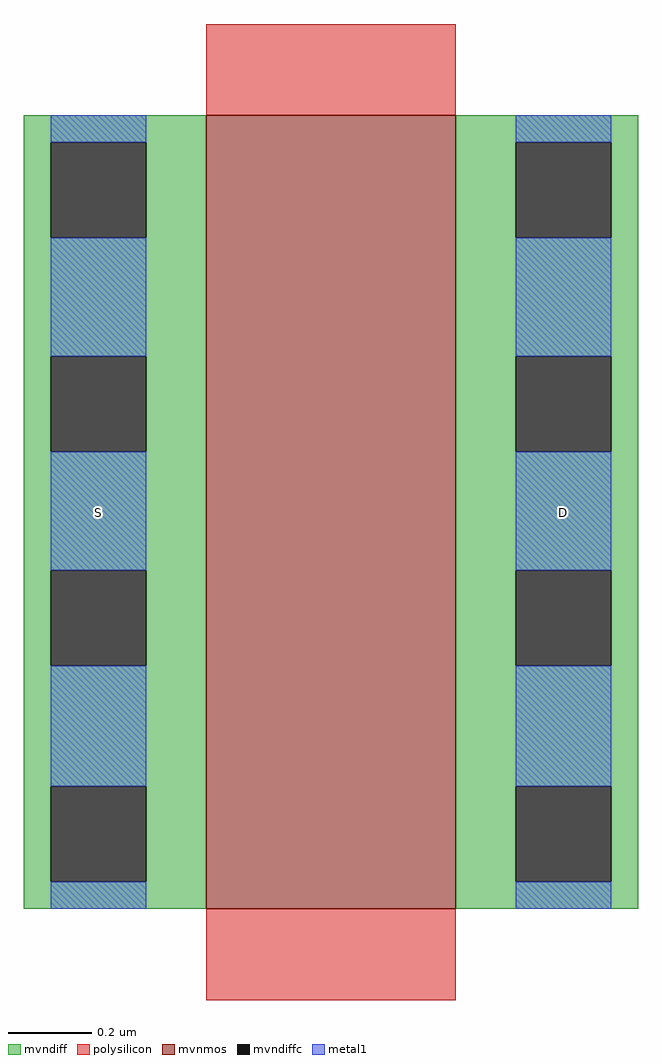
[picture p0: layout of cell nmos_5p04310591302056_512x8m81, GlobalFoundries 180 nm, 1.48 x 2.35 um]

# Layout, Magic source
magic
tech gf180mcuC
magscale 1 10
<< mvnmos >>
rect 0 0 120 382
<< mvndiff >>
rect -88 369 0 382
rect -88 323 -75 369
rect -29 323 0 369
rect -88 266 0 323
rect -88 220 -75 266
rect -29 220 0 266
rect -88 163 0 220
rect -88 117 -75 163
rect -29 117 0 163
rect -88 59 0 117
rect -88 13 -75 59
rect -29 13 0 59
rect -88 0 0 13
rect 120 369 208 382
rect 120 323 149 369
rect 195 323 208 369
rect 120 266 208 323
rect 120 220 149 266
rect 195 220 208 266
rect 120 163 208 220
rect 120 117 149 163
rect 195 117 208 163
rect 120 59 208 117
rect 120 13 149 59
rect 195 13 208 59
rect 120 0 208 13
<< mvndiffc >>
rect -75 323 -29 369
rect -75 220 -29 266
rect -75 117 -29 163
rect -75 13 -29 59
rect 149 323 195 369
rect 149 220 195 266
rect 149 117 195 163
rect 149 13 195 59
<< polysilicon >>
rect 0 382 120 426
rect 0 -44 120 0
<< metal1 >>
rect -75 369 -29 382
rect -75 266 -29 323
rect -75 163 -29 220
rect -75 59 -29 117
rect -75 0 -29 13
rect 149 369 195 382
rect 149 266 195 323
rect 149 163 195 220
rect 149 59 195 117
rect 149 0 195 13
<< labels >>
flabel metal1 s -52 191 -52 191 0 FreeSans 200 0 0 0 S
flabel metal1 s 172 191 172 191 0 FreeSans 200 0 0 0 D
<< properties >>
string GDS_END 390938
string GDS_FILE $PDKPATH/libs.ref/gf180mcu_fd_ip_sram/gds/gf180mcu_fd_ip_sram__sram512x8m8wm1.gds
string GDS_START 389530
<< end >>
